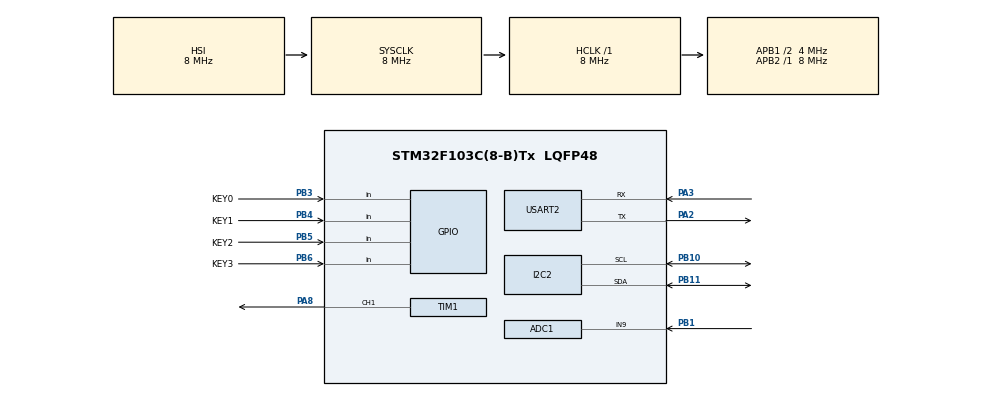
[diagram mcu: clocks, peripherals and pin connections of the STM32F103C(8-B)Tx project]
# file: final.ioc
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ADC1.Channel-2\#ChannelRegularConversion=ADC_CHANNEL_9
ADC1.NbrOfConversionFlag=1
ADC1.Rank-2\#ChannelRegularConversion=1
ADC1.SamplingTime-2\#ChannelRegularConversion=ADC_SAMPLETIME_1CYCLE_5
ADC1.master=1
Mcu.Family=STM32F1
Mcu.Name=STM32F103C(8-B)Tx
Mcu.Package=LQFP48
NVIC.PriorityGroup=NVIC_PRIORITYGROUP_4
PA13.Mode=Serial_Wire
PA13.Signal=SYS_JTMS-SWDIO
PA14.Mode=Serial_Wire
PA14.Signal=SYS_JTCK-SWCLK
PA2.Mode=Asynchronous
PA2.Signal=USART2_TX
PA3.Mode=Asynchronous
PA3.Signal=USART2_RX
PA8.Signal=S_TIM1_CH1
PB1.Signal=ADCx_IN9
PB10.Mode=I2C
PB10.Signal=I2C2_SCL
PB11.Mode=I2C
PB11.Signal=I2C2_SDA
PB3.GPIO_Label=KEY0
PB3.GPIO_PuPd=GPIO_PULLUP
PB3.Signal=GPIO_Input
PB4.GPIO_Label=KEY1
PB4.GPIO_PuPd=GPIO_PULLUP
PB4.Signal=GPIO_Input
PB5.GPIO_Label=KEY2
PB5.GPIO_PuPd=GPIO_PULLUP
PB5.Signal=GPIO_Input
PB6.GPIO_Label=KEY3
PB6.GPIO_PuPd=GPIO_PULLUP
PB6.Signal=GPIO_Input
PC14-OSC32_IN.Mode=LSE-External-Oscillator
PC14-OSC32_IN.Signal=RCC_OSC32_IN
PC15-OSC32_OUT.Mode=LSE-External-Oscillator
PC15-OSC32_OUT.Signal=RCC_OSC32_OUT
PD0-OSC_IN.Mode=HSE-External-Oscillator
PD0-OSC_IN.Signal=RCC_OSC_IN
PD1-OSC_OUT.Mode=HSE-External-Oscillator
PD1-OSC_OUT.Signal=RCC_OSC_OUT
ProjectManager.HeapSize=0x200
ProjectManager.StackSize=0x400
ProjectManager.TargetToolchain=MDK-ARM V5
RCC.ADCPresc=RCC_ADCPCLK2_DIV6
RCC.AHBFreq_Value=8000000
RCC.APB1CLKDivider=RCC_HCLK_DIV2
RCC.APB1Freq_Value=4000000
RCC.APB1TimFreq_Value=8000000
RCC.APB2Freq_Value=8000000
RCC.APB2TimFreq_Value=8000000
RCC.HCLKFreq_Value=8000000
RCC.SYSCLKFreq_VALUE=8000000
RCC.USBFreq_Value=8000000
SH.ADCx_IN9.0=ADC1_IN9,IN9
SH.S_TIM1_CH1.0=TIM1_CH1,PWM Generation1 CH1
TIM1.Channel-PWM\ Generation1\ CH1=TIM_CHANNEL_1
TIM1.OCPolarity_1=TIM_OCPOLARITY_LOW
TIM1.Period=9999
TIM1.Prescaler=7
TIM2.Period=99
TIM2.Prescaler=7
USART2.VirtualMode=VM_ASYNC
VP_TIM1_VS_ClockSourceINT.Mode=Internal
VP_TIM2_VS_ClockSourceINT.Mode=Internal
board=custom

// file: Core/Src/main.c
/* USER CODE BEGIN Header */
/**
  ******************************************************************************
  * @file           : main.c
  * @brief          : Main program body
  ******************************************************************************
  * @attention
  *
  * Copyright (c) 2023 STMicroelectronics.
  * All rights reserved.
  *
  * This software is licensed under terms that can be found in the LICENSE file
  * in the root directory of this software component.
  * If no LICENSE file comes with this software, it is provided AS-IS.
  *
  ******************************************************************************
  */
/* USER CODE END Header */
#include "main.h"
#include "adc.h"
#include "i2c.h"
#include "tim.h"
#include "usart.h"
#include "gpio.h"

/* USER CODE BEGIN Includes */
#include <stdio.h>
#include "oled.h"
#include <math.h>
/* USER CODE END Includes */

/* USER CODE BEGIN PV */
uint8_t key=0;//读取按键状态
uint16_t flag_pid;
/* USER CODE END PV */

void SystemClock_Config(void);
/* USER CODE BEGIN PFP */
//函数定义
double calculate_temp(double v);
void heat(double t);

/* USER CODE END PFP */

/* USER CODE BEGIN 0 */

int ADCValue;

//double temp_voltage;

	int is_heat;
	int set_flag=0;

	double temp_gap;//实际温度与设置温度的差值
    double temp_now;
	uint8_t temp_now_integer;
	double temp_now_decimal;

	int temp_set=40;
	int temp_set_last=40;

	uint8_t device_mode=0;//0 is off,1 is on,2设置加热温度，3设置温控范围中的最低温度,4设置温控范围中的最高温度
	uint8_t is_clean=0;
	int min_temp=0;
	int max_temp=99;

	uint8_t alert_flag=0;
uint8_t time_counter=0;
char str[]=".";
/* USER CODE END 0 */

int main(void)
{

  /* MCU Configuration--------------------------------------------------------*/

  /* Reset of all peripherals, Initializes the Flash interface and the Systick. */
  HAL_Init();

  /* Configure the system clock */
  SystemClock_Config();

  /* Initialize all configured peripherals */
  MX_GPIO_Init();
  MX_I2C2_Init();
  MX_ADC1_Init();
  MX_USART2_UART_Init();
  MX_TIM2_Init();
  MX_TIM1_Init();
  /* USER CODE BEGIN 2 */
	OLED_Init();
	OLED_Clear();

	HAL_TIM_PWM_Start(&htim1,TIM_CHANNEL_1);
	HAL_TIM_Base_Start_IT(&htim2);

  /* USER CODE END 2 */

  /* Infinite loop */
  while (1)
  {

    /* USER CODE BEGIN 3 */

	  HAL_ADC_Start(&hadc1);
	  HAL_ADC_PollForConversion(&hadc1,10);
	  ADCValue=HAL_ADC_GetValue(&hadc1);

	  ADCValue =ADCValue*3300/4095;					//AD值转换为电压值
	  printf("Voltage = %4d mV \r\n",ADCValue);

	  temp_now=calculate_temp(ADCValue/1000.0);

	  printf("Voltage = %.3f 摄氏度 \r\n",temp_now);
	  temp_now_integer=(int) temp_now;
	  temp_now_decimal=(temp_now-temp_now_integer)*10;
	  key = KEY_Scan(0);

		//进入警报
		if((device_mode==1)&&(temp_now<min_temp||temp_now>max_temp)){

				device_mode=5;
				is_clean=1;
	}

	switch(device_mode){
		case 0:
			OLED_ShowCHinese(10,0,0);//状态：
			OLED_ShowCHinese(27,0,1);
			OLED_ShowCHinese(43,0,2);
			OLED_ShowCHinese(50,0,3);//关闭
			OLED_ShowCHinese(67,0,4);

			OLED_ShowCHinese(10,3,11);//实际温度
			OLED_ShowCHinese(27,3,12);
			OLED_ShowCHinese(44,3,9);
			OLED_ShowCHinese(58,3,10);
			OLED_ShowCHinese(72,3,2);
			OLED_ShowNum(77,3,temp_now,2,16);
			OLED_ShowString(95,3,str,16);
			OLED_ShowNum(100,3,temp_now_decimal,1,16);
			OLED_ShowCHinese(108,3,13);
			switch(key)
			{
				case KEY1_PRES:device_mode=1;is_clean=1;break;
				default:break;
	}
			//OLED_ShowNum(77,0,temp_set,2,16);
			break;
		case 1:
			HAL_Delay(100);

			OLED_ShowCHinese(10,0,15);//范围
			OLED_ShowCHinese(27,0,16);
			OLED_ShowNum(44,0,min_temp,2,16);
			OLED_ShowCHinese(60,0,13);
			OLED_ShowCHinese(74,0,17);
			OLED_ShowNum(91,0,max_temp,2,16);
			OLED_ShowCHinese(108,0,13);

			OLED_ShowCHinese(10,3,7);//设置温度
			OLED_ShowCHinese(27,3,8);
			OLED_ShowCHinese(44,3,9);
			OLED_ShowCHinese(58,3,10);
			OLED_ShowCHinese(72,3,2);
			OLED_ShowNum(77,3,temp_set,2,16);
			OLED_ShowCHinese(95,3,13);

			OLED_ShowCHinese(10,6,11);//实际温度
			OLED_ShowCHinese(27,6,12);
			OLED_ShowCHinese(44,6,9);
			OLED_ShowCHinese(58,6,10);
			OLED_ShowCHinese(72,6,2);
			OLED_ShowNum(77,6,temp_now,2,16);
			OLED_ShowString(95,6,str,16);
			OLED_ShowNum(100,6,temp_now_decimal,1,16);
			OLED_ShowCHinese(108,6,13);
			switch(key){
				case KEY0_PRES: device_mode=0;is_clean=1; break;
				case KEY1_PRES: device_mode=2;is_clean=1;break;
				case KEY2_PRES: device_mode=3;is_clean=1;break;
				case KEY3_PRES: break;
				default: break;
			}

			break;
		case 2://设置加热温度
			OLED_ShowCHinese(10,0,7);//设置
			OLED_ShowCHinese(27,0,8);
			OLED_ShowNum(47,0,temp_set,2,16);
			OLED_ShowCHinese(65,0,13);//加热
			OLED_ShowCHinese(10,3,11);
			OLED_ShowCHinese(27,3,12);

			OLED_ShowNum(44,3,temp_now,2,16);
			OLED_ShowString(62,3,str,16);
			OLED_ShowNum(67,3,temp_now_decimal,1,16);

			OLED_ShowCHinese(77,3,13);
			switch(key){
				case KEY0_PRES: device_mode=0;is_clean=1; break;
				case KEY1_PRES:
					if(temp_set>min_temp){
				temp_set--;
					}
					else {
					OLED_ShowCHinese(10,6,32);//不能高于最高值
					OLED_ShowCHinese(27,6,18);
					OLED_ShowCHinese(44,6,21);
					OLED_ShowCHinese(61,6,28);
					OLED_ShowCHinese(78,6,20);
					OLED_ShowCHinese(95,6,21);
					OLED_ShowCHinese(112,6,25);

					}
						break;
				case KEY3_PRES:
					if(temp_set<max_temp){
					temp_set++;
					}
				else{
					OLED_ShowCHinese(10,6,32);//不能低于最低值
					OLED_ShowCHinese(27,6,18);
					OLED_ShowCHinese(44,6,23);
					OLED_ShowCHinese(61,6,28);
					OLED_ShowCHinese(78,6,20);
					OLED_ShowCHinese(95,6,23);
					OLED_ShowCHinese(112,6,25);

				}

				break;
				case KEY2_PRES: device_mode=1;is_clean=1;break;
				default: break;
			}
			if(temp_set!=temp_set_last){
				temp_set_last=temp_set;
				set_flag=0;
			}

			break;
		case 3://设置温控范围最低温
		{
			OLED_ShowCHinese(10,0,9);//温控范围
			OLED_ShowCHinese(27,0,14);
			OLED_ShowCHinese(44,0,15);
			OLED_ShowCHinese(61,0,16);
			OLED_ShowNum(20,3,min_temp,2,16);
			OLED_ShowCHinese(40,3,13);
			OLED_ShowCHinese(60,3,17);
			OLED_ShowNum(80,3,max_temp,2,16);
			OLED_ShowCHinese(100,3,13);

			switch(key){
			case KEY0_PRES: device_mode=0;is_clean=1; break;
			case KEY1_PRES:
				if(min_temp>0){
					min_temp--;
				}else{
					OLED_ShowCHinese(10,6,20);//最低温为0℃
					OLED_ShowCHinese(27,6,21);
					OLED_ShowCHinese(44,6,9);
					OLED_ShowCHinese(61,6,22);
					OLED_ShowCHinese(78,6,2);
					OLED_ShowNum(85,6,0,1,16);
					OLED_ShowCHinese(95,6,13);
				}
			break;

			case KEY3_PRES:
				if(min_temp<max_temp-1){
					min_temp++;
				}else{
					OLED_ShowCHinese(10,6,24);//左值应小于右值
					OLED_ShowCHinese(27,6,30);
					OLED_ShowCHinese(44,6,26);
					OLED_ShowCHinese(61,6,27);
					OLED_ShowCHinese(78,6,28);
					OLED_ShowCHinese(95,6,29);
					OLED_ShowCHinese(110,6,30);
				}

			break;

			case KEY2_PRES: device_mode=4;is_clean=1; break;
			default:break;
			}
		}
		break;
		case 4://设置最高温
		{
			OLED_ShowCHinese(10,0,9);//温控范围
			OLED_ShowCHinese(27,0,14);
			OLED_ShowCHinese(44,0,15);
			OLED_ShowCHinese(61,0,16);
			OLED_ShowNum(20,3,min_temp,2,16);
			OLED_ShowCHinese(40,3,13);
			OLED_ShowCHinese(60,3,17);
			OLED_ShowNum(80,3,max_temp,2,16);
			OLED_ShowCHinese(100,3,13);

			switch(key){
			case KEY0_PRES: device_mode=0;is_clean=1; break;
			case KEY1_PRES:
				if(max_temp>min_temp){
					max_temp--;
				}else{
					OLED_ShowCHinese(10,6,29);//右值应大于左值
					OLED_ShowCHinese(27,6,30);
					OLED_ShowCHinese(44,6,26);
					OLED_ShowCHinese(61,6,31);
					OLED_ShowCHinese(78,6,28);
					OLED_ShowCHinese(95,6,24);
					OLED_ShowCHinese(110,6,30);
				}
			break;

			case KEY3_PRES:
				if(max_temp<=99){
					max_temp++;
				}else{
					OLED_ShowCHinese(10,6,20);//最高温为90℃
					OLED_ShowCHinese(27,6,23);
					OLED_ShowCHinese(44,6,9);
					OLED_ShowCHinese(61,6,22);
					OLED_ShowCHinese(78,6,2);
					OLED_ShowNum(85,6,90,2,16);
					OLED_ShowCHinese(105,6,13);
				}

			break;

			case KEY2_PRES: device_mode=1;is_clean=1; break;
			default:break;
			}
			}
		break;
			case 5:
				OLED_ShowCHinese(48,1,33);
				OLED_ShowCHinese(65,1,34);
				OLED_ShowNum(20,4,min_temp,2,16);
				OLED_ShowCHinese(40,4,13);
				OLED_ShowCHinese(60,4,17);
				OLED_ShowNum(80,4,max_temp,2,16);
				OLED_ShowCHinese(100,4,13);

				if(alert_flag==0){
					switch(key){
					case KEY1_PRES:
						if(min_temp>0){
							min_temp--;
						}else{
							OLED_ShowCHinese(10,6,20);
							OLED_ShowCHinese(27,6,21);
							OLED_ShowCHinese(44,6,9);
							OLED_ShowCHinese(61,6,22);
							OLED_ShowCHinese(78,6,2);
							OLED_ShowNum(85,6,0,1,16);
							OLED_ShowCHinese(95,6,13);
						}
				break;

			case KEY3_PRES:
					if(min_temp<max_temp-1){
						min_temp++;
					}else{
						OLED_ShowCHinese(10,6,24);
						OLED_ShowCHinese(27,6,30);
						OLED_ShowCHinese(44,6,26);
						OLED_ShowCHinese(61,6,27);
						OLED_ShowCHinese(78,6,28);
						OLED_ShowCHinese(95,6,29);
						OLED_ShowCHinese(110,6,30);
					}

				break;
				case KEY2_PRES: alert_flag=1;break;
					case KEY0_PRES: device_mode=0; is_clean=1 ;break;
				default: break;
					}
				}
				else if(alert_flag==1){
				switch(key){
				case KEY1_PRES:
					if(max_temp>min_temp){
						max_temp--;
					}else{
						OLED_ShowCHinese(10,6,29);
						OLED_ShowCHinese(27,6,30);
						OLED_ShowCHinese(44,6,26);
						OLED_ShowCHinese(61,6,31);
						OLED_ShowCHinese(78,6,28);
						OLED_ShowCHinese(95,6,24);
						OLED_ShowCHinese(110,6,30);
					}
					break;
				case KEY3_PRES:
					if(max_temp<90){
						max_temp++;
					}else{
							OLED_ShowCHinese(10,6,20);
						OLED_ShowCHinese(27,6,23);
						OLED_ShowCHinese(44,6,9);
						OLED_ShowCHinese(61,6,22);
						OLED_ShowCHinese(78,6,2);
						OLED_ShowNum(85,6,90,2,16);
						OLED_ShowCHinese(105,6,13);
					}
						break;
					case KEY2_PRES: alert_flag=0;break;
					case KEY0_PRES:
				device_mode=0;
				is_clean=1;
				break;
					default:break;
					}
				}

				//HAL_Delay(500);
				is_clean=1;

		default:
				HAL_Delay(10); break;
		}

	//oled屏幕刷新
	if(is_clean)
	{
		is_clean=0;
		OLED_Clear();
	}

	if(device_mode!=0&&device_mode!=5){
		temp_gap=temp_set-temp_now;
		printf("temp_now= %f,temp_set=%d,temp_gap=%f\r\n,",temp_now,temp_set,temp_gap);
		heat(temp_gap);
	}else{
		__HAL_TIM_SET_COMPARE(&htim1,TIM_CHANNEL_1,0);
		printf("关闭状态，不加热");
	}
}

  /* USER CODE END 3 */
}

void SystemClock_Config(void)
{
  RCC_OscInitTypeDef RCC_OscInitStruct = {0};
  RCC_ClkInitTypeDef RCC_ClkInitStruct = {0};
  RCC_PeriphCLKInitTypeDef PeriphClkInit = {0};

  /** Initializes the RCC Oscillators according to the specified parameters
  * in the RCC_OscInitTypeDef structure.
  */
  RCC_OscInitStruct.OscillatorType = RCC_OSCILLATORTYPE_HSI;
  RCC_OscInitStruct.HSIState = RCC_HSI_ON;
  RCC_OscInitStruct.HSICalibrationValue = RCC_HSICALIBRATION_DEFAULT;
  RCC_OscInitStruct.PLL.PLLState = RCC_PLL_NONE;
  if (HAL_RCC_OscConfig(&RCC_OscInitStruct) != HAL_OK)
  {
    Error_Handler();
  }

  /** Initializes the CPU, AHB and APB buses clocks
  */
  RCC_ClkInitStruct.ClockType = RCC_CLOCKTYPE_HCLK|RCC_CLOCKTYPE_SYSCLK
                              |RCC_CLOCKTYPE_PCLK1|RCC_CLOCKTYPE_PCLK2;
  RCC_ClkInitStruct.SYSCLKSource = RCC_SYSCLKSOURCE_HSI;
  RCC_ClkInitStruct.AHBCLKDivider = RCC_SYSCLK_DIV1;
  RCC_ClkInitStruct.APB1CLKDivider = RCC_HCLK_DIV2;
  RCC_ClkInitStruct.APB2CLKDivider = RCC_HCLK_DIV1;

  if (HAL_RCC_ClockConfig(&RCC_ClkInitStruct, FLASH_LATENCY_0) != HAL_OK)
  {
    Error_Handler();
  }
  PeriphClkInit.PeriphClockSelection = RCC_PERIPHCLK_ADC;
  PeriphClkInit.AdcClockSelection = RCC_ADCPCLK2_DIV6;
  if (HAL_RCCEx_PeriphCLKConfig(&PeriphClkInit) != HAL_OK)
  {
    Error_Handler();
  }
}

/* USER CODE BEGIN 4 */

int fputc(int ch,FILE *f)
{
	HAL_UART_Transmit(&huart2,(uint8_t *)&ch,1,10);
	return ch;
}

void heat(double t)
{
	if(t<-0.3){
			set_flag=1;
		}

	if(set_flag==1){
		if(temp_set<=60&&temp_set>=50){
			if(t>2)
			{
				__HAL_TIM_SET_COMPARE(&htim1,TIM_CHANNEL_1,10000);
				printf("heat,pwm=10000\r\n");
			}
			else if(t<=2&&t>=1)
			{
				__HAL_TIM_SET_COMPARE(&htim1,TIM_CHANNEL_1,7500);
				printf("heat,pwm=7500\r\n");
			}
			else if(t<1&&t>0.2)
			{
				__HAL_TIM_SET_COMPARE(&htim1,TIM_CHANNEL_1,4500);
				printf("heat,pwm=4500\r\n");

			}
			else if(t<0.3&&t>-0.2)
			{
				__HAL_TIM_SET_COMPARE(&htim1,TIM_CHANNEL_1,1000);
				printf("heat,pwm=1000\r\n");
			}
			else{
			__HAL_TIM_SET_COMPARE(&htim1,TIM_CHANNEL_1,0);
				printf("heat,pwm=0\r\n");
			}
		}
		else if(temp_set<=50){
			if(t>1.5)
			{
				__HAL_TIM_SET_COMPARE(&htim1,TIM_CHANNEL_1,10000);
				printf("heat,pwm=10000\r\n");
			}
			else if(t<=1.5&&t>=1)
			{
				__HAL_TIM_SET_COMPARE(&htim1,TIM_CHANNEL_1,6000);
				printf("heat,pwm=6000\r\n");
			}
			else if(t<1&&t>0.2)
			{
				__HAL_TIM_SET_COMPARE(&htim1,TIM_CHANNEL_1,4500);
				printf("heat,pwm=4500\r\n");

			}
			else if(t<0.3&&t>-0.2)
			{
				__HAL_TIM_SET_COMPARE(&htim1,TIM_CHANNEL_1,1000);
				printf("heat,pwm=1000\r\n");
			}
			else{
			__HAL_TIM_SET_COMPARE(&htim1,TIM_CHANNEL_1,0);
				printf("heat,pwm=0\r\n");
			}
		}
		else if(temp_set>60&&temp_set<70){
			if(t>=1.5)
				{
					__HAL_TIM_SET_COMPARE(&htim1,TIM_CHANNEL_1,10000);
					printf("heat,pwm=10000\r\n");
				}
				else if(t<=1.5&&t>=0.5)
				{
					__HAL_TIM_SET_COMPARE(&htim1,TIM_CHANNEL_1,7000);
					printf("heat,pwm=7500\r\n");
				}
				else if(t<0.5&&t>0)
				{
					__HAL_TIM_SET_COMPARE(&htim1,TIM_CHANNEL_1,2000);
					printf("heat,pwm=5000\r\n");

				}
				else if(t<0.3&&t>-0.3)
				{
					__HAL_TIM_SET_COMPARE(&htim1,TIM_CHANNEL_1,1500);
					printf("heat,pwm=2000\r\n");
				}
				else{
				__HAL_TIM_SET_COMPARE(&htim1,TIM_CHANNEL_1,0);
					printf("heat,pwm=0\r\n");
				}
		}
		else if(temp_set>=70&&temp_set<=80){
			if(t>=1.5)
				{
					__HAL_TIM_SET_COMPARE(&htim1,TIM_CHANNEL_1,9000);
					printf("heat,pwm=9000\r\n");
				}
				else if(t<=1.5&&t>=0.6)
				{
					__HAL_TIM_SET_COMPARE(&htim1,TIM_CHANNEL_1,6000);
					printf("heat,pwm=6000\r\n");
				}
				else if(t<0.6&&t>0)
				{
					__HAL_TIM_SET_COMPARE(&htim1,TIM_CHANNEL_1,2000);
					printf("heat,pwm=5000\r\n");

				}
				else if(t<0.3&&t>-0.3)
				{
					__HAL_TIM_SET_COMPARE(&htim1,TIM_CHANNEL_1,1500);
					printf("heat,pwm=2000\r\n");
				}
				else{
				__HAL_TIM_SET_COMPARE(&htim1,TIM_CHANNEL_1,0);
					printf("heat,pwm=0\r\n");
				}
		}
		else if(temp_set>80){
			if(t>=1.2)
				{
					__HAL_TIM_SET_COMPARE(&htim1,TIM_CHANNEL_1,10000);
					printf("heat,pwm=10000\r\n");
				}
				else if(t<=1.2&&t>=0.5)
				{
					__HAL_TIM_SET_COMPARE(&htim1,TIM_CHANNEL_1,7000);
					printf("heat,pwm=7500\r\n");
				}
				else if(t<0.5&&t>0)
				{
					__HAL_TIM_SET_COMPARE(&htim1,TIM_CHANNEL_1,5000);
					printf("heat,pwm=5000\r\n");

				}
				else if(t<0.3&&t>-0.3)
				{
					__HAL_TIM_SET_COMPARE(&htim1,TIM_CHANNEL_1,2000);
					printf("heat,pwm=2000\r\n");
				}
				else{
				__HAL_TIM_SET_COMPARE(&htim1,TIM_CHANNEL_1,0);
					printf("heat,pwm=0\r\n");
				}
		}

	}
	else{
		if(temp_set<=65&&temp_set>55){
			if(t<=0){
				__HAL_TIM_SET_COMPARE(&htim1,TIM_CHANNEL_1,0);
				printf("heat,pwm=0\r\n");
			}
			else if(t>3.5){
			__HAL_TIM_SET_COMPARE(&htim1,TIM_CHANNEL_1,10000);
				printf("heat,pwm=10000\r\n");
			}
			else if(t<3.5&&t>2.4){
			__HAL_TIM_SET_COMPARE(&htim1,TIM_CHANNEL_1,5500);
				printf("heat,pwm=5500\r\n");
			}
			else if(t<2.4&&t>0.7){
			__HAL_TIM_SET_COMPARE(&htim1,TIM_CHANNEL_1,1500);
				printf("heat,pwm=2000\r\n");
			}
		}
		else if(temp_set>65&&temp_set<=80){
			if(t<=0){
				__HAL_TIM_SET_COMPARE(&htim1,TIM_CHANNEL_1,0);
				printf("heat,pwm=0\r\n");
			}
			else if(t>3.5){
			__HAL_TIM_SET_COMPARE(&htim1,TIM_CHANNEL_1,10000);
				printf("heat,pwm=10000\r\n");
			}
			else if(t<3.5&&t>2.2){
			__HAL_TIM_SET_COMPARE(&htim1,TIM_CHANNEL_1,7000);
				printf("heat,pwm=7000\r\n");
			}
			else if(t<2.2&&t>0.7){
			__HAL_TIM_SET_COMPARE(&htim1,TIM_CHANNEL_1,5000);
				printf("heat,pwm=5000\r\n");
			}
		}
			else if(temp_set>80){
			if(t<=0){
				__HAL_TIM_SET_COMPARE(&htim1,TIM_CHANNEL_1,0);
				printf("heat,pwm=0\r\n");
			}
			else if(t>3.5){
			__HAL_TIM_SET_COMPARE(&htim1,TIM_CHANNEL_1,10000);
				printf("heat,pwm=10000\r\n");
			}
			else if(t<3.5&&t>2.5){
			__HAL_TIM_SET_COMPARE(&htim1,TIM_CHANNEL_1,7000);
				printf("heat,pwm=7000\r\n");
			}
			else if(t<2.5&&t>0.4){
			__HAL_TIM_SET_COMPARE(&htim1,TIM_CHANNEL_1,6000);
				printf("heat,pwm=5000\r\n");
			}
		}
		else if(temp_set<=55&&temp_set>45){
			if(t<=0){
				__HAL_TIM_SET_COMPARE(&htim1,TIM_CHANNEL_1,0);
				printf("heat,pwm=0\r\n");
			}
			else if(t>6){
			__HAL_TIM_SET_COMPARE(&htim1,TIM_CHANNEL_1,10000);
				printf("heat,pwm=10000\r\n");
			}
			else if(t<=6&&t>4){
			__HAL_TIM_SET_COMPARE(&htim1,TIM_CHANNEL_1,5000);
				printf("heat,pwm=5000\r\n");
			}
			else if(t<4&&t>2){
			__HAL_TIM_SET_COMPARE(&htim1,TIM_CHANNEL_1,4000);
				printf("heat,pwm=3000\r\n");
			}
			else if(t<2&&t>0.5){
			__HAL_TIM_SET_COMPARE(&htim1,TIM_CHANNEL_1,2500);
				printf("heat,pwm=2500\r\n");
			}
	}
		else if(temp_set<=45){
			if(t<=0){
				__HAL_TIM_SET_COMPARE(&htim1,TIM_CHANNEL_1,0);
				printf("heat,pwm=0\r\n");
			}
			else if(t>6){
			__HAL_TIM_SET_COMPARE(&htim1,TIM_CHANNEL_1,10000);
				printf("heat,pwm=10000\r\n");
			}
			else if(t<=6&&t>4){
			__HAL_TIM_SET_COMPARE(&htim1,TIM_CHANNEL_1,5000);
				printf("heat,pwm=5000\r\n");
			}
			else if(t<4&&t>2){
			__HAL_TIM_SET_COMPARE(&htim1,TIM_CHANNEL_1,2500);
				printf("heat,pwm=2500\r\n");
			}
			else if(t<2&&t>0.5){
			__HAL_TIM_SET_COMPARE(&htim1,TIM_CHANNEL_1,1300);
				printf("heat,pwm=1300\r\n");
			}
	}

}
	printf("set_flag=%d\r\n",set_flag);
	}

double calculate_temp(double v){
	double temp_v=v;
	double ratio=temp_v/5;
	double temperature;
	if(ratio<0.9467&&ratio>=0.8462){
		temperature=-777.9*ratio*ratio+1200*ratio-468;
	}else if(ratio<0.8462&&ratio>=0.665){
		temperature=-110.3*ratio+83.35;

	}else if(ratio<0.665&&ratio>=0.4462){
		temperature=4.99*ratio*ratio-96.33*ratio+71.95;
	}else if(ratio<0.4462&&ratio>=0.263){
		temperature=101.1*ratio*ratio-180.8*ratio+90.62;
	}else if(ratio<0.263&&ratio>=0.1481){
		temperature=405*ratio*ratio-337.7*ratio+111;
	}else if(ratio<0.1481&&ratio>=0.083){
		temperature=1476*ratio*ratio-647*ratio+133.6;
	}else if(ratio<0.083&&ratio>=0.0483){
		temperature=5226*ratio*ratio-1252*ratio+158.2;
	}

	else {
		temperature=10;
	}
	return temperature-3.5;
}
void HAL_TIM_PeriodElapsedCallback(TIM_HandleTypeDef *htim)
{
if(htim->Instance==TIM2){
time_counter++;

	if(time_counter>9) {
		flag_pid=1;
		time_counter=0;
	}
}

}

/* USER CODE END 4 */

void Error_Handler(void)
{
  __disable_irq();
  while (1)
  {
  }
}
